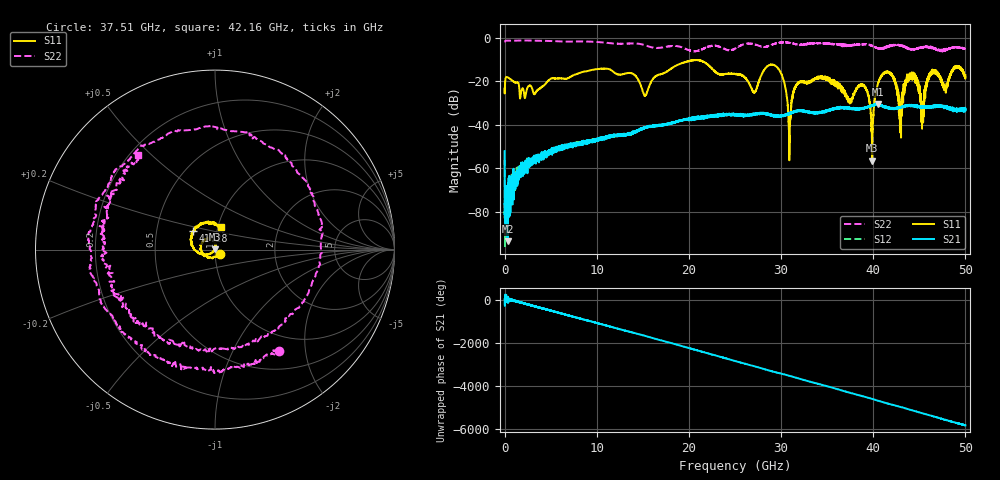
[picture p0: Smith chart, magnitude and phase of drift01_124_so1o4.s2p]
!Created with skrf (http://scikit-rf.org).
# Hz S RI R 50.0
!freq ReS11 ImS11 ReS21 ImS21 ReS12 ImS12 ReS22 ImS22
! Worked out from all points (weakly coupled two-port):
!   10001 points, 300 kHz to 50 GHz, reference 50 ohm
!   highest |S21| = -30.51 dB at 40.55 GHz (marker M1); lowest = -93.5 dB at 370.3 MHz (marker M2)
!   lowest |S11| = -56.4 dB at 39.88 GHz (marker M3), VSWR 1.00, Z = 49.9 + j0.0646 ohm
!   |S11| at or under -10 dB: start of sweep to end of sweep
!   |S22| runs from -6.5 to -1.4 dB; largest |S21 - S12| = 0.0042
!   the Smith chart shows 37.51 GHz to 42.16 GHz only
!   S11 on the Smith chart (normalised r, x): 37.51 GHz: 1.05, -0.05; 41.28 GHz: 0.77, +0.16; 42.16 GHz: 1.03, +0.26
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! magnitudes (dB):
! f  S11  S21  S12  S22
! 300 kHz  -23.4  -52.1  -55.8  -2.1
! 370.3 MHz  -18.3  -93.5  -68.5  -1.4
! 8.335 GHz  -16.0  -48.3  -48.3  -1.8
! 16.67 GHz  -17.1  -40.4  -40.4  -4.8
! 25 GHz  -16.7  -35.5  -35.3  -5.1
! 27.1 GHz  -25.2  -34.9  -35.2  -3.1
! 29.44 GHz  -13.1  -36.0  -35.9  -2.7
! 30.91 GHz  -51.6  -34.8  -34.7  -2.6
! 31.67 GHz  -21.6  -33.9  -33.6  -3.2
! 33.34 GHz  -19.7  -34.4  -34.2  -2.6
! 37.51 GHz  -28.8  -32.6  -32.4  -3.5
! 38.95 GHz  -22.3  -32.4  -32.4  -3.1
! 39.88 GHz  -56.4  -31.1  -31.1  -3.7
! 40.55 GHz  -20.7  -30.5  -31.0  -5.2
! 41.28 GHz  -15.9  -31.9  -31.8  -4.4
! 41.67 GHz  -15.9  -32.5  -32.4  -4.2
! 42.16 GHz  -17.9  -32.4  -32.7  -3.4
! 42.97 GHz  -33.0  -32.3  -31.9  -3.7
! 43.97 GHz  -17.9  -30.9  -31.1  -5.4
! 45.31 GHz  -35.9  -32.0  -32.2  -4.3
! 46.42 GHz  -15.1  -31.6  -31.6  -4.7
! 50 GHz  -17.3  -32.8  -33.0  -5.3
